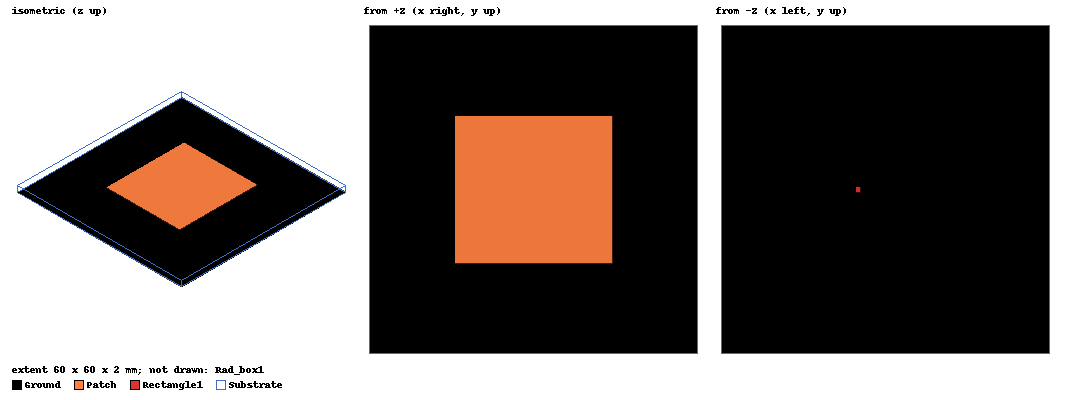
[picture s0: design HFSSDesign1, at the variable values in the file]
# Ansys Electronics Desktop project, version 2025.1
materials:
  vacuum: permittivity=1
  air: permittivity=1.0006 permeability=1.0000004
  perfect conductor: conductivity=1e+30
  copper: permeability=0.999991 conductivity=58000000

design HFSSDesign1 (HFSS, HFSS Terminal Network, model units mm)
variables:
  L = 28.8mm
  W = 27mm
  h = 2mm
  L_g = 60mm
  y_f = 5mm
  x_f = 0
  P_r = 0.5mm
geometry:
  Ground = rectangle(corner=(-L_g/2, -L_g/2, 0mm), x_size=L_g, y_size=L_g)
  Substrate [air] = box(corner=(-L_g/2, -L_g/2, 0mm), size=(L_g, L_g, h))
  Patch = rectangle(corner=(-L/2, -W/2, h), x_size=L, y_size=W)
  Feed [copper] = cylinder(axis=Z, base_centre=(y_f, x_f, 0mm), radius=P_r, height=h)
  Port = rectangle(corner=(y_f - P_r, x_f-P_r, 0mm), x_size=2*P_r, y_size=2*P_r)
  Port_1 = Port.copy()
  Port.delete()
  Ground.subtract(Port_1)
  Rad_box1 [vacuum] = box(corner=(-L_g, -L_g, -h), size=(2*L_g, 2*L_g, 4*h+30mm))
  Rectangle1 = rectangle(corner=(4.5mm, -0.5mm, 0mm), x_size=1mm, y_size=1mm)
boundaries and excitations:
  Rad1: Radiation Objects=Rad_box1
  1: Lumped Port Objects=Rectangle1 LumpedPortType=Modal Modes{Mode1{IntLine{(5, 0, 0) -> (5.5, 0, 0)} CharImp=Zpi}} Impedance=50ohm
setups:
  Setup1: HfssDriven Frequency=5.3GHz MaxDeltaS=0.02 MaximumPasses=20 MinimumPasses=1 MinimumConvergedPasses=1 PercentRefinement=30 BasisOrder=1 PortAccuracy=2 DrivenSolverType="Direct Solver"
    sweep Sweep: 5GHz to 5.8GHz, 81 points; Type=Interpolating InterpTolerance=0.5 InterpMaxSolns=250 PassivityErrorTolerance=0.0001
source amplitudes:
  1:1: 1V 0deg
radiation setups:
  Far_Field: Infinite Sphere Theta=-180deg..180deg step 2deg Phi=0deg..360deg step 10deg
